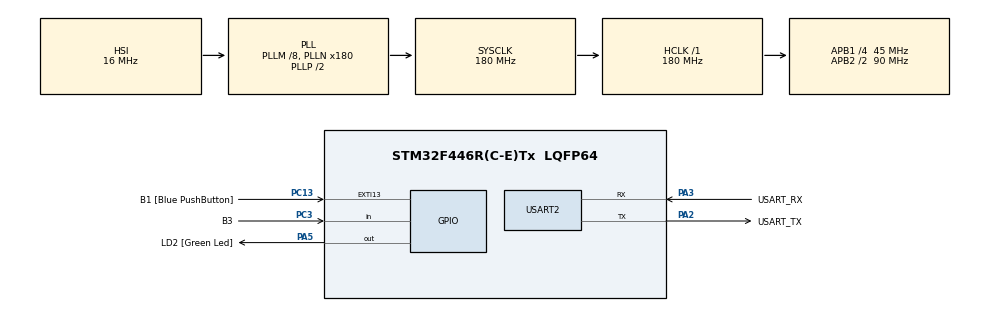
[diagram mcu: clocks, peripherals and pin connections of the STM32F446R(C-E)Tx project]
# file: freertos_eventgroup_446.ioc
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FREERTOS.Tasks01=defaultTask,24,128,StartDefaultTask,Default,NULL,Dynamic,NULL,NULL
FREERTOS.configUSE_NEWLIB_REENTRANT=1
Mcu.Family=STM32F4
Mcu.Name=STM32F446R(C-E)Tx
Mcu.Package=LQFP64
NVIC.PriorityGroup=NVIC_PRIORITYGROUP_4
NVIC.TIM8_TRG_COM_TIM14_IRQn=true\:15\:0\:false\:false\:true\:false\:false\:true\:true
NVIC.TimeBase=TIM8_TRG_COM_TIM14_IRQn
NVIC.TimeBaseIP=TIM14
PA13.GPIO_Label=TMS
PA13.Mode=Serial_Wire
PA13.Signal=SYS_JTMS-SWDIO
PA14.GPIO_Label=TCK
PA14.Mode=Serial_Wire
PA14.Signal=SYS_JTCK-SWCLK
PA2.GPIO_Label=USART_TX
PA2.Mode=Asynchronous
PA2.Signal=USART2_TX
PA3.GPIO_Label=USART_RX
PA3.Mode=Asynchronous
PA3.Signal=USART2_RX
PA5.GPIO_Label=LD2 [Green Led]
PA5.Signal=GPIO_Output
PB3.GPIO_Label=SWO
PB3.Signal=SYS_JTDO-SWO
PC13.GPIO_Label=B1 [Blue PushButton]
PC13.GPIO_ModeDefaultEXTI=GPIO_MODE_IT_FALLING
PC13.Signal=GPXTI13
PC14-OSC32_IN.Mode=LSE-External-Oscillator
PC14-OSC32_IN.Signal=RCC_OSC32_IN
PC15-OSC32_OUT.Mode=LSE-External-Oscillator
PC15-OSC32_OUT.Signal=RCC_OSC32_OUT
PC3.GPIO_Label=B3
PC3.GPIO_PuPd=GPIO_PULLUP
PC3.Signal=GPIO_Input
PH0-OSC_IN.Mode=HSE-External-Oscillator
PH0-OSC_IN.Signal=RCC_OSC_IN
PH1-OSC_OUT.Mode=HSE-External-Oscillator
PH1-OSC_OUT.Signal=RCC_OSC_OUT
ProjectManager.HeapSize=0x200
ProjectManager.StackSize=0x400
ProjectManager.TargetToolchain=STM32CubeIDE
RCC.48MHZClocksFreq_Value=84000000
RCC.AHBFreq_Value=180000000
RCC.APB1CLKDivider=RCC_HCLK_DIV4
RCC.APB1Freq_Value=45000000
RCC.APB1TimFreq_Value=90000000
RCC.APB2CLKDivider=RCC_HCLK_DIV2
RCC.APB2Freq_Value=90000000
RCC.APB2TimFreq_Value=180000000
RCC.CortexFreq_Value=180000000
RCC.FLatency-AdvancedSettings=FLASH_LATENCY_5
RCC.HCLKFreq_Value=180000000
RCC.HSE_VALUE=8000000
RCC.HSI_VALUE=16000000
RCC.PLLM=8
RCC.PLLN=180
RCC.SYSCLKFreq_VALUE=180000000
RCC.SYSCLKSource=RCC_SYSCLKSOURCE_PLLCLK
RCC.USBFreq_Value=180000000
RCC.VCOOutputFreq_Value=360000000
USART2.VirtualMode=VM_ASYNC
VP_FREERTOS_VS_CMSIS_V2.Mode=CMSIS_V2
VP_SYS_VS_tim14.Mode=TIM14
board=NUCLEO-F446RE

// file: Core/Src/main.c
/* USER CODE BEGIN Header */
/**
  ******************************************************************************
  * @file           : main.c
  * @brief          : Main program body
  ******************************************************************************
  * @attention
  *
  * Copyright (c) 2026 STMicroelectronics.
  * All rights reserved.
  *
  * This software is licensed under terms that can be found in the LICENSE file
  * in the root directory of this software component.
  * If no LICENSE file comes with this software, it is provided AS-IS.
  *
  ******************************************************************************
  */
/* USER CODE END Header */
#include "main.h"
#include "cmsis_os.h"

/* USER CODE BEGIN Includes */
#include "task.h"
#include "event_groups.h"
/* USER CODE END Includes */

/* USER CODE BEGIN PTD */
typedef struct {
	GPIO_TypeDef*	puerto;
	uint16_t 		pin;
	uint32_t		flag;
} Datos_pulsador_t;
/* USER CODE END PTD */

/* USER CODE BEGIN PD */
#define BOTON1_PRESIONADO (1<<0)
#define BOTON2_PRESIONADO (1<<1)
/* USER CODE END PD */

UART_HandleTypeDef huart2;

/* Definitions for defaultTask */
osThreadId_t defaultTaskHandle;
const osThreadAttr_t defaultTask_attributes = {
  .name = "defaultTask",
  .stack_size = 128 * 4,
  .priority = (osPriority_t) osPriorityNormal,
};
/* USER CODE BEGIN PV */
EventGroupHandle_t eventos;
Datos_pulsador_t b[2];
/* USER CODE END PV */

void SystemClock_Config(void);
static void MX_GPIO_Init(void);
static void MX_USART2_UART_Init(void);
void StartDefaultTask(void *argument);

/* USER CODE BEGIN 0 */
void tarealed(void *p)
{
	while(1)
	{
		xEventGroupWaitBits(eventos,
							BOTON1_PRESIONADO|BOTON2_PRESIONADO,
							pdTRUE, 		//Borro los bits al salir
							pdTRUE, 		//Espero por todos los bits (pdFALSE para OR)
							portMAX_DELAY);
		HAL_GPIO_WritePin(LD2_GPIO_Port, LD2_Pin,GPIO_PIN_SET);
		vTaskDelay(pdMS_TO_TICKS(1000));
		HAL_GPIO_WritePin(LD2_GPIO_Port, LD2_Pin,GPIO_PIN_RESET);
	}
}

void tareaboton(void *p)
{
	GPIO_TypeDef *puerto = ((Datos_pulsador_t*)p)->puerto;
	uint16_t pin = ((Datos_pulsador_t*)p)->pin;
	uint32_t flag = ((Datos_pulsador_t*)p)->flag;

	while(1){
		if(HAL_GPIO_ReadPin(puerto, pin)==GPIO_PIN_RESET){
			xEventGroupSetBits(eventos, flag);
		}
		vTaskDelay(20);
	}
}
/* USER CODE END 0 */

int main(void)
{

  /* MCU Configuration--------------------------------------------------------*/

  /* Reset of all peripherals, Initializes the Flash interface and the Systick. */
  HAL_Init();

  /* Configure the system clock */
  SystemClock_Config();

  /* Initialize all configured peripherals */
  MX_GPIO_Init();
  MX_USART2_UART_Init();

  /* Init scheduler */
  osKernelInitialize();

  /* Create the thread(s) */
  /* creation of defaultTask */
  defaultTaskHandle = osThreadNew(StartDefaultTask, NULL, &defaultTask_attributes);

  /* USER CODE BEGIN RTOS_THREADS */
  /* add threads, ... */
  xTaskCreate(tarealed,
		  	  "led",
			  configMINIMAL_STACK_SIZE,
			  NULL,
			  osPriorityNormal,
			  NULL);

  b[0].puerto = B1_GPIO_Port;
  b[0].pin = B1_Pin;
  b[0].flag = BOTON1_PRESIONADO;
  b[1].puerto = B3_GPIO_Port;
  b[1].pin = B3_Pin;
  b[1].flag = BOTON2_PRESIONADO;
  for(int i=0; i<2; i++) {
	  xTaskCreate(tareaboton,
	    		  	  "btn",
	    			  configMINIMAL_STACK_SIZE,
	    			  &b[i],
	    			  osPriorityNormal,
	    			  NULL);
  }

  /* USER CODE END RTOS_THREADS */

  /* USER CODE BEGIN RTOS_EVENTS */
  eventos = xEventGroupCreate();
  /* USER CODE END RTOS_EVENTS */

  /* Start scheduler */
  osKernelStart();

  /* We should never get here as control is now taken by the scheduler */

  /* Infinite loop */
  while (1)
  {

  }
}

void SystemClock_Config(void)
{
  RCC_OscInitTypeDef RCC_OscInitStruct = {0};
  RCC_ClkInitTypeDef RCC_ClkInitStruct = {0};

  /** Configure the main internal regulator output voltage
  */
  __HAL_RCC_PWR_CLK_ENABLE();
  __HAL_PWR_VOLTAGESCALING_CONFIG(PWR_REGULATOR_VOLTAGE_SCALE1);

  /** Initializes the RCC Oscillators according to the specified parameters
  * in the RCC_OscInitTypeDef structure.
  */
  RCC_OscInitStruct.OscillatorType = RCC_OSCILLATORTYPE_HSI;
  RCC_OscInitStruct.HSIState = RCC_HSI_ON;
  RCC_OscInitStruct.HSICalibrationValue = RCC_HSICALIBRATION_DEFAULT;
  RCC_OscInitStruct.PLL.PLLState = RCC_PLL_ON;
  RCC_OscInitStruct.PLL.PLLSource = RCC_PLLSOURCE_HSI;
  RCC_OscInitStruct.PLL.PLLM = 8;
  RCC_OscInitStruct.PLL.PLLN = 180;
  RCC_OscInitStruct.PLL.PLLP = RCC_PLLP_DIV2;
  RCC_OscInitStruct.PLL.PLLQ = 2;
  RCC_OscInitStruct.PLL.PLLR = 2;
  if (HAL_RCC_OscConfig(&RCC_OscInitStruct) != HAL_OK)
  {
    Error_Handler();
  }

  /** Activate the Over-Drive mode
  */
  if (HAL_PWREx_EnableOverDrive() != HAL_OK)
  {
    Error_Handler();
  }

  /** Initializes the CPU, AHB and APB buses clocks
  */
  RCC_ClkInitStruct.ClockType = RCC_CLOCKTYPE_HCLK|RCC_CLOCKTYPE_SYSCLK
                              |RCC_CLOCKTYPE_PCLK1|RCC_CLOCKTYPE_PCLK2;
  RCC_ClkInitStruct.SYSCLKSource = RCC_SYSCLKSOURCE_PLLCLK;
  RCC_ClkInitStruct.AHBCLKDivider = RCC_SYSCLK_DIV1;
  RCC_ClkInitStruct.APB1CLKDivider = RCC_HCLK_DIV4;
  RCC_ClkInitStruct.APB2CLKDivider = RCC_HCLK_DIV2;

  if (HAL_RCC_ClockConfig(&RCC_ClkInitStruct, FLASH_LATENCY_5) != HAL_OK)
  {
    Error_Handler();
  }
}

static void MX_USART2_UART_Init(void)
{

  huart2.Instance = USART2;
  huart2.Init.BaudRate = 115200;
  huart2.Init.WordLength = UART_WORDLENGTH_8B;
  huart2.Init.StopBits = UART_STOPBITS_1;
  huart2.Init.Parity = UART_PARITY_NONE;
  huart2.Init.Mode = UART_MODE_TX_RX;
  huart2.Init.HwFlowCtl = UART_HWCONTROL_NONE;
  huart2.Init.OverSampling = UART_OVERSAMPLING_16;
  if (HAL_UART_Init(&huart2) != HAL_OK)
  {
    Error_Handler();
  }

}

static void MX_GPIO_Init(void)
{
  GPIO_InitTypeDef GPIO_InitStruct = {0};

  /* GPIO Ports Clock Enable */
  __HAL_RCC_GPIOC_CLK_ENABLE();
  __HAL_RCC_GPIOH_CLK_ENABLE();
  __HAL_RCC_GPIOA_CLK_ENABLE();
  __HAL_RCC_GPIOB_CLK_ENABLE();

  /*Configure GPIO pin Output Level */
  HAL_GPIO_WritePin(LD2_GPIO_Port, LD2_Pin, GPIO_PIN_RESET);

  /*Configure GPIO pin : B1_Pin */
  GPIO_InitStruct.Pin = B1_Pin;
  GPIO_InitStruct.Mode = GPIO_MODE_IT_FALLING;
  GPIO_InitStruct.Pull = GPIO_NOPULL;
  HAL_GPIO_Init(B1_GPIO_Port, &GPIO_InitStruct);

  /*Configure GPIO pin : B3_Pin */
  GPIO_InitStruct.Pin = B3_Pin;
  GPIO_InitStruct.Mode = GPIO_MODE_INPUT;
  GPIO_InitStruct.Pull = GPIO_PULLUP;
  HAL_GPIO_Init(B3_GPIO_Port, &GPIO_InitStruct);

  /*Configure GPIO pin : LD2_Pin */
  GPIO_InitStruct.Pin = LD2_Pin;
  GPIO_InitStruct.Mode = GPIO_MODE_OUTPUT_PP;
  GPIO_InitStruct.Pull = GPIO_NOPULL;
  GPIO_InitStruct.Speed = GPIO_SPEED_FREQ_LOW;
  HAL_GPIO_Init(LD2_GPIO_Port, &GPIO_InitStruct);

}

void StartDefaultTask(void *argument)
{
  for(;;)
  {
    osDelay(1);
  }
}

void HAL_TIM_PeriodElapsedCallback(TIM_HandleTypeDef *htim)
{
  if (htim->Instance == TIM14) {
    HAL_IncTick();
  }
}

void Error_Handler(void)
{
  __disable_irq();
  while (1)
  {
  }
}
